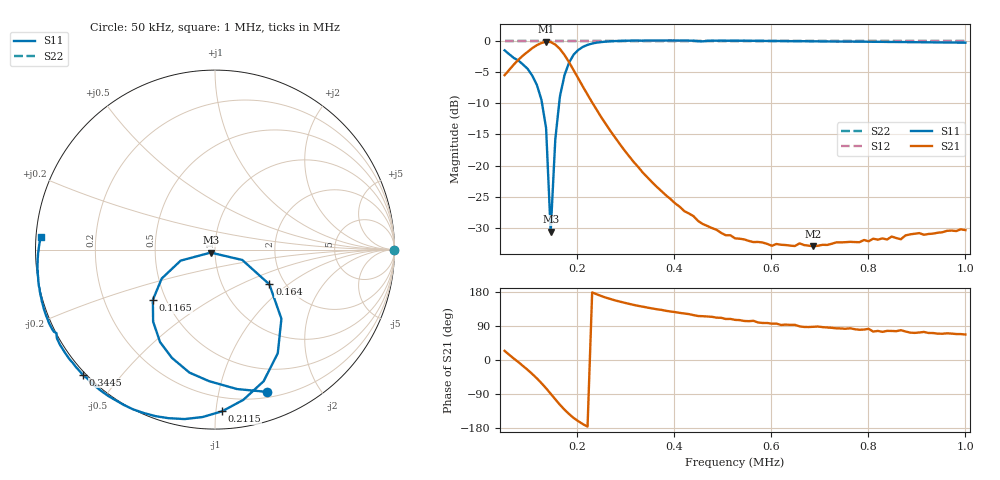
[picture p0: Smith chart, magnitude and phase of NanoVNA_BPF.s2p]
! File created by NanoVNA (https://gen111.taobao.com/)
! Start 50000Hz  Stop 1000000Hz  Points 101
# HZ S MA R 50
! S - Parameter data, F S11 S21 (S12 and S22 are invalid)
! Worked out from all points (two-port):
!   101 points, 50 kHz to 1 MHz, reference 50 ohm
!   highest |S21| = -0.09 dB at 135.5 kHz (marker M1); lowest = -33.0 dB at 686.5 kHz (marker M2)
!   |S21| within 3 dB of the highest: 77.13 kHz to 180.7 kHz (103.5 kHz wide, 80.3 % of centre)
!   lowest |S11| = -30.6 dB at 145 kHz (marker M3), VSWR 1.06, Z = 47.6 - j1.59 ohm
!   |S11| at or under -10 dB: 127.2 kHz to 162.5 kHz (35.27 kHz wide, 24.4 % of centre)
!   |S22| runs from 0.0 to 0.0 dB; largest |S21 - S12| = 1.6
!   S11 on the Smith chart (normalised r, x): 50 kHz: 0.25, -1.40; 116.5 kHz: 0.42, -0.30; 164 kHz: 1.66, -0.74; 211.5 kHz: 0.11, -1.04; 344.5 kHz: -0.01, -0.40; 1 MHz: 0.01, +0.04
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50000  0.8451 -69.8  0.5338 24.2  1 0.0  1 0.0
69000  0.7336 -92.6  0.6499 3.8  1 0.0  1 0.0
88000  0.6495 -111.7  0.768 -15.9  1 0.0  1 0.0
107000  0.529 -130.7  0.88 -36.9  1 0.0  1 0.0
116500  0.4457 -141.0  0.9302 -48.4  1 0.0  1 0.0
126000  0.3377 -151.5  0.9686 -61.1  1 0.0  1 0.0
135500  0.2008 -162.2  0.9896 -74.6  1 0.0  1 0.0
145000  0.02943 -145.4  0.9859 -89.1  1 0.0  1 0.0
154500  0.1626 -20.8  0.9399 -103.7  1 0.0  1 0.0
164000  0.3592 -32.6  0.8677 -118.0  1 0.0  1 0.0
183000  0.6751 -58.8  0.6779 -142.7  1 0.0  1 0.0
192500  0.782 -69.7  0.582 -153.0  1 0.0  1 0.0
211500  0.9017 -87.5  0.4309 -169.2  1 0.0  1 0.0
240000  0.9747 -105.5  0.2804 173.4  1 0.0  1 0.0
268500  1 -117.1  0.189 160.8  1 0.0  1 0.0
344500  1.014 -136.6  0.08032 138.3  1 0.0  1 0.0
373000  1.013 -141.5  0.06252 132.4  1 0.0  1 0.0
458500  0.9979 -152.2  0.03387 115.6  1 0.0  1 0.0
525000  1.01 -158.7  0.02597 105.9  1 0.0  1 0.0
686500  0.9996 -170.0  0.02247 87.7  1 0.0  1 0.0
848000  0.9871 -178.1  0.02685 76.6  1 0.0  1 0.0
1000000  0.9733 175.9  0.03025 67.3  1 0.0  1 0.0
